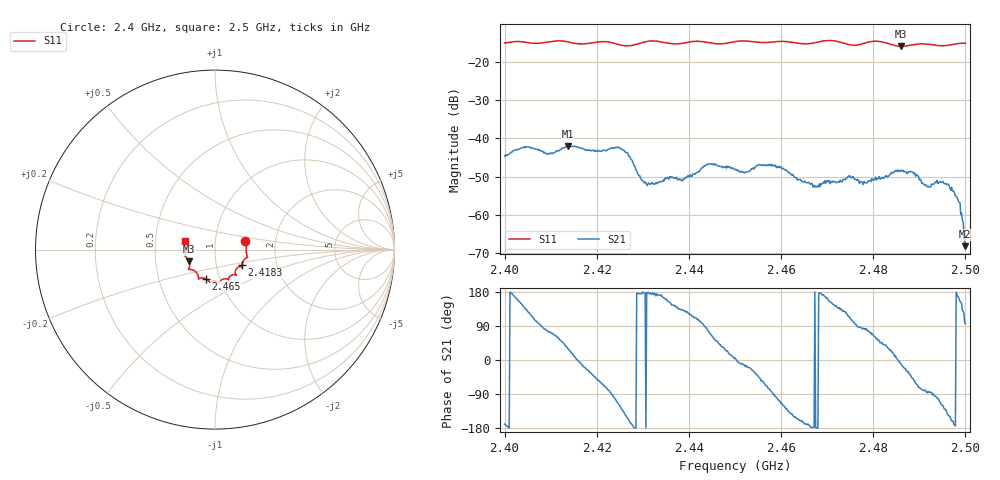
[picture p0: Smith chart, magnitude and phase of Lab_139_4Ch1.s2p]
# Hz S RI R 50
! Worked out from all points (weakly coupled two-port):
!   601 points, 2.4 GHz to 2.5 GHz, reference 50 ohm
!   highest |S21| = -42.03 dB at 2.4138 GHz (marker M1); lowest = -68.1 dB at 2.4998 GHz (marker M2)
!   lowest |S11| = -16.0 dB at 2.486 GHz (marker M3), VSWR 1.38, Z = 37.1 - j4.97 ohm
!   |S11| at or under -10 dB: start of sweep to end of sweep
!   S12 and S22 are empty: the file has one direction only
!   S11 on the Smith chart (normalised r, x): 2.4 GHz: 1.40, +0.13; 2.4183 GHz: 1.33, -0.24; 2.465 GHz: 0.86, -0.29; 2.5 GHz: 0.71, +0.07
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2.4e9  0.169 0.0457  -0.00579 -0.0011  0 0  0 0
2.404333e9  0.1779 0.0246  -0.00573 0.00523  0 0  0 0
2.4095e9  0.1777 -0.0315  0.00173 0.00611  0 0  0 0
2.413833e9  0.1739 -0.0466  0.00698 0.00373  0 0  0 0
2.416667e9  0.1552 -0.0685  0.00726 -0.0015  0 0  0 0
2.418333e9  0.1498 -0.0873  0.00598 -0.00356  0 0  0 0
2.425e9  0.1341 -0.0964  -0.00385 -0.00641  0 0  0 0
2.4305e9  0.1155 -0.1394  -0.00269 0.000155  0 0  0 0
2.433333e9  0.1168 -0.1414  -0.00262 0.000433  0 0  0 0
2.438667e9  0.0789 -0.155  -0.00185 0.00211  0 0  0 0
2.444333e9  0.0665 -0.1637  0.00133 0.00442  0 0  0 0
2.45e9  0.0252 -0.1808  0.00388 0.000346  0 0  0 0
2.458167e9  -0.0189 -0.1792  0.000199 -0.00437  0 0  0 0
2.465e9  -0.0527 -0.162  -0.00262 -0.000598  0 0  0 0
2.466667e9  -0.0712 -0.1577  -0.00259 -4.29e-05  0 0  0 0
2.483333e9  -0.1422 -0.0958  0.00277 0.00158  0 0  0 0
2.486e9  -0.1438 -0.0652  0.00379 -0.000648  0 0  0 0
2.491833e9  -0.1664 -0.0287  0.000229 -0.0023  0 0  0 0
2.4965e9  -0.1627 0.022  -0.002 -0.00126  0 0  0 0
2.498333e9  -0.1673 0.0381  -0.00158 0.00034  0 0  0 0
2.499833e9  -0.1674 0.0464  -7.66e-05 0.000384  0 0  0 0
2.5e9  -0.1671 0.0471  -4.83e-05 0.000552  0 0  0 0
